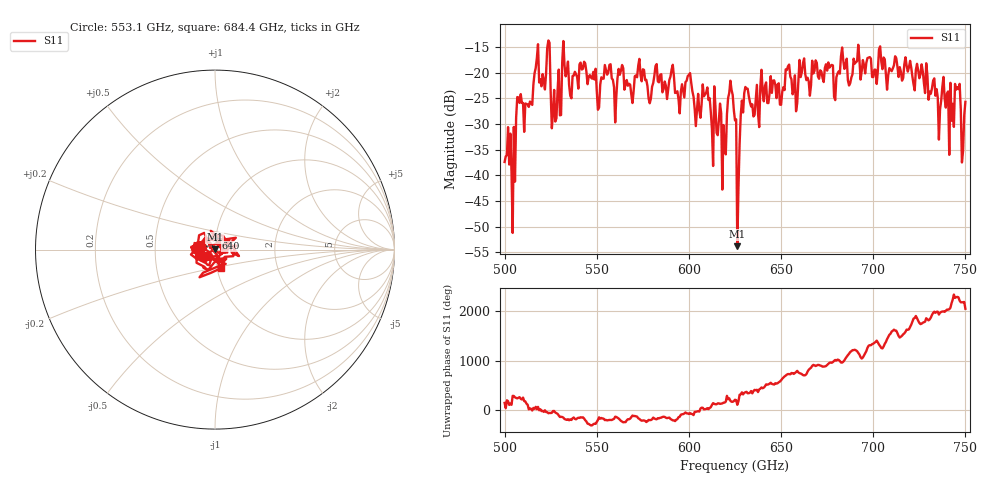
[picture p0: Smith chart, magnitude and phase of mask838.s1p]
!Created with skrf (http://scikit-rf.org).
# GHz S MA R 50.0
!freq magS11 angS11
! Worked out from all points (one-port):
!   401 points, 500 GHz to 750 GHz, reference 50 ohm
!   lowest |S11| = -53.8 dB at 626.2 GHz (marker M1), VSWR 1.00, Z = 49.9 + j0.186 ohm
!   |S11| at or under -10 dB: start of sweep to end of sweep
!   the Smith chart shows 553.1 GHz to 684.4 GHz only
!   S11 on the Smith chart (normalised r, x): 553.1 GHz: 0.85, -0.05; 640 GHz: 1.00, +0.13; 684.4 GHz: 1.04, -0.22
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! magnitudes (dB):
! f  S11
! 500 GHz  -37.4
! 505 GHz  -30.6
! 507.5 GHz  -24.8
! 513.8 GHz  -25.6
! 516.9 GHz  -19.1
! 523.8 GHz  -13.7
! 526.9 GHz  -23.3
! 531.2 GHz  -17.9
! 553.1 GHz  -21.1
! 562.5 GHz  -20.4
! 578.8 GHz  -25.9
! 590.6 GHz  -19.3
! 593.8 GHz  -23.6
! 608.8 GHz  -24.2
! 619.4 GHz  -34.6
! 622.5 GHz  -21.5
! 625 GHz  -29.3
! 626.2 GHz  -53.8
! 630 GHz  -24.0
! 640 GHz  -23.7
! 656.2 GHz  -24.2
! 684.4 GHz  -19.2
! 687.5 GHz  -22.0
! 718.8 GHz  -19.8
! 742.5 GHz  -29.4
! 745.6 GHz  -22.8
! 748.1 GHz  -37.5
! 750 GHz  -25.7
